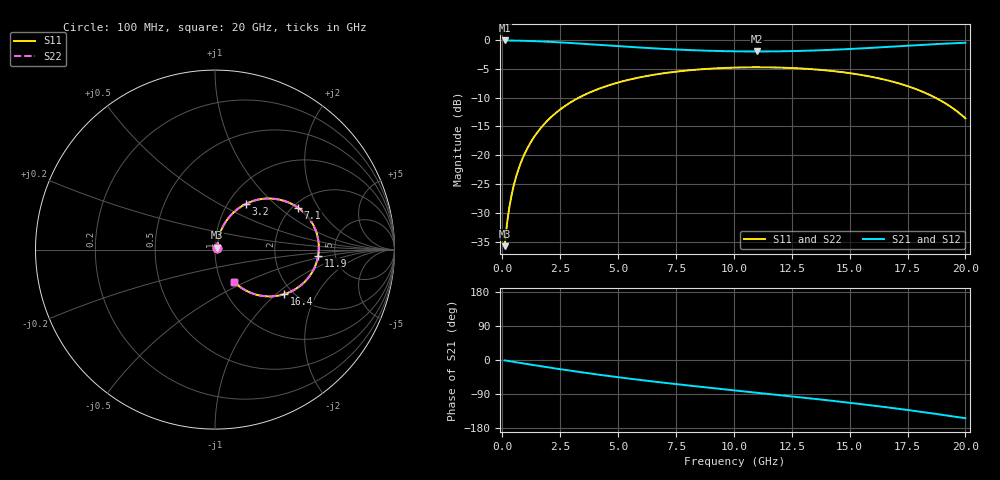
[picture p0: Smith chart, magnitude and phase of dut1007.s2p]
! Touchstone file exported from HFSS 2026.1.0
!  File:  C:/ffzhzh/LocalFiles/Ansys_Project_Files/temp_train_TSV_RDL_1007_1783290931_38820.aedt
!  Generated:  06:44:58 AM Jul  6, 2026
!  Design:  TSV_RDL
!  Project:  temp_train_TSV_RDL_1007_1783290931_38820
! Variables:
!  h_bsmrdl = 5.46um
!  h_ox = 20um
!  h_rdl = 5um
!  h_sub = 54.93um
!  h_tmrdl = 5.64um
!  h_tsv = 54.93um
!  h_via = 3um
!  l_bsmrdl = 342.39um
!  l_sub = 2813.24um
!  l_tmrdl = 321.25um
!  m_sub = 200um
!  pitch = 46.69um
!  r_tsv = 5.25um
!  s_tmrdl = 10um
!  w_bsmrdl = 21.31um
!  w_sub = 500um
!  w_tmrdl = 12.38um
!  x_tsv_center1 = 327.44um
!  x_tsv_center2 = 691.14um
!  x_tsv_center3 = 1024.77um
!  x_tsv_center4 = 1388.47um
!  x_tsv_center5 = 1722.1um
!  x_tsv_center6 = 2085.8um
# GHz S MA R 50.000000
! Terminal data exported
! Port[1] = TM_RDL1_1_T1
! Port[2] = TM_RDL5_1_T1
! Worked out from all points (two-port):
!   200 points, 100 MHz to 20 GHz, reference 50 ohm
!   highest |S21| = -0.11 dB at 100 MHz (marker M1); lowest = -2.0 dB at 11 GHz (marker M2)
!   |S21| within 3 dB of the highest: start of sweep to end of sweep
!   lowest |S11| = -35.7 dB at 100 MHz (marker M3), VSWR 1.03, Z = 51.2 + j1.12 ohm
!   |S11| at or under -10 dB: start of sweep to 3.316 GHz; 18.69 GHz to end of sweep
!   |S22| runs from -35.7 to -4.8 dB; largest |S21 - S12| = 1.7e-13
!   S11 on the Smith chart (normalised r, x): 100 MHz: 1.02, +0.02; 3.2 GHz: 1.21, +0.68; 7.1 GHz: 2.13, +1.36; 11.9 GHz: 3.67, -0.37; 16.4 GHz: 1.79, -1.13; 20 GHz: 1.15, -0.43
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0.1  0.01633 41.9  0.988 -1.0  0.988 -1.0  0.01633 41.9
! Gamma 0 0 0 0
! Port Impedance 50 0 50 0
0.2  0.02522 58.8  0.9875 -2.0  0.9875 -2.0  0.02522 58.8
0.3  0.03505 65.8  0.9868 -3.0  0.9868 -3.0  0.03505 65.8
0.4  0.04513 69.3  0.9861 -4.0  0.9861 -4.0  0.04513 69.3
0.7  0.07583 72.7  0.9836 -7.0  0.9836 -7.0  0.07583 72.7
1  0.1065 72.5  0.9802 -10.0  0.9802 -10.0  0.1065 72.5
1.4  0.1467 70.3  0.9743 -13.9  0.9743 -13.9  0.1467 70.3
1.9  0.195 66.7  0.9648 -18.6  0.9648 -18.6  0.195 66.7
2.5  0.2494 61.8  0.951 -24.2  0.951 -24.2  0.2494 61.8
3.2  0.3073 55.9  0.9326 -30.5  0.9326 -30.5  0.3073 55.9
3.5  0.3301 53.5  0.9243 -33.1  0.9243 -33.1  0.3301 53.5
5  0.4269 41.7  0.8823 -45.4  0.8823 -45.4  0.4269 41.7
6.8  0.5078 28.8  0.8385 -58.8  0.8385 -58.8  0.5078 28.8
7.1  0.5179 26.8  0.8324 -60.9  0.8324 -60.9  0.5179 26.8
10.1  0.5755 7.7  0.7953 -80.7  0.7953 -80.7  0.5755 7.7
11  0.5787 2.1  0.7932 -86.4  0.7932 -86.4  0.5787 2.1
11.9  0.5757 -3.4  0.7953 -92.2  0.7953 -92.2  0.5757 -3.4
13.4  0.5566 -12.8  0.8079 -101.9  0.8079 -101.9  0.5566 -12.8
16.4  0.4578 -32.9  0.8629 -123.2  0.8629 -123.2  0.4578 -32.9
16.7  0.4428 -35.1  0.8699 -125.5  0.8699 -125.5  0.4427 -35.1
18.6  0.3232 -49.3  0.9156 -141.1  0.9156 -141.1  0.3232 -49.3
20  0.209 -59.4  0.9438 -153.7  0.9438 -153.7  0.209 -59.4
